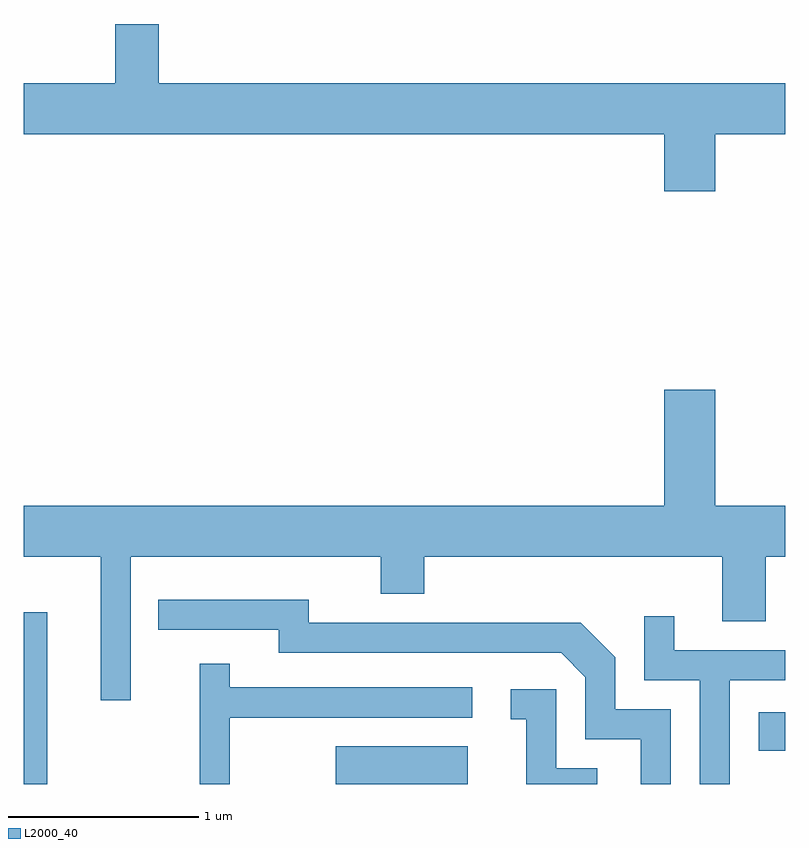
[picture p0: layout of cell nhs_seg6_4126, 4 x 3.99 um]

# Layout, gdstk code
import gdstk
lib = gdstk.Library(unit=1e-6, precision=1e-09)
def R(c, l, rs):  # rectangles x0, y0, x1, y1
    for r in rs: c.add(gdstk.rectangle(r[:2], r[2:], *l))
def P(c, l, *ps):  # polygons
    for p in ps: c.add(gdstk.Polygon(p, *l))
L2000_40 = (2000, 40)

nhs_seg6_4126 = lib.new_cell('nhs_seg6_4126')
R(nhs_seg6_4126, L2000_40, [(311.611,1562.162,311.734,1563.064), (313.251,1562.162,313.944,1562.359), (315.471,1562.336,315.611,1562.539)])
P(nhs_seg6_4126, L2000_40, [(314.976,1565.276),(315.244,1565.276),(315.244,1565.576),(315.611,1565.576),(315.611,1565.844),(312.319,1565.844),(312.319,1566.154),(312.091,1566.154),(312.091,1565.844),(311.611,1565.844),(311.611,1565.576),(314.976,1565.576)],
  [(312.174,1563.356),(313.486,1563.356),(313.486,1563.161),(313.714,1563.161),(313.714,1563.356),(315.281,1563.356),(315.281,1563.016),(315.509,1563.016),(315.509,1563.356),(315.611,1563.356),(315.611,1563.624),(315.244,1563.624),(315.244,1564.234),(314.976,1564.234),(314.976,1563.624),(311.611,1563.624),(311.611,1563.356),(312.016,1563.356),(312.016,1562.603),(312.174,1562.603)],
  [(315.009,1562.554),(314.719,1562.554),(314.719,1562.827),(314.537,1563.009),(313.109,1563.009),(313.109,1563.129),(312.318,1563.129),(312.318,1562.971),(312.951,1562.971),(312.951,1562.851),(314.434,1562.851),(314.561,1562.724),(314.561,1562.396),(314.851,1562.396),(314.851,1562.162),(315.009,1562.162)],
  [(315.319,1562.706),(315.611,1562.706),(315.611,1562.864),(315.029,1562.864),(315.029,1563.043),(314.871,1563.043),(314.871,1562.706),(315.161,1562.706),(315.161,1562.162),(315.319,1562.162)],
  [(312.694,1562.511),(313.968,1562.511),(313.968,1562.669),(312.694,1562.669),(312.694,1562.793),(312.536,1562.793),(312.536,1562.162),(312.694,1562.162)],
  [(314.624,1562.244),(314.409,1562.244),(314.409,1562.659),(314.168,1562.659),(314.168,1562.501),(314.251,1562.501),(314.251,1562.162),(314.624,1562.162)])

lib.write_gds('nhs_seg6_4126.gds')
